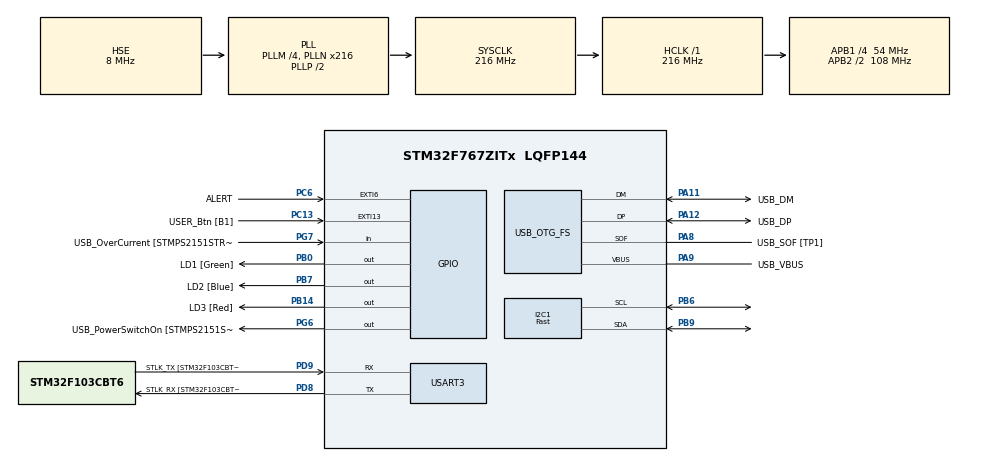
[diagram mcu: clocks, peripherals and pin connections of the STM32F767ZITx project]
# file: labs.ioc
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ADC1.Channel-0\#ChannelRegularConversion=ADC_CHANNEL_TEMPSENSOR
ADC1.NbrOfConversionFlag=1
ADC1.Rank-0\#ChannelRegularConversion=1
ADC1.SamplingTime-0\#ChannelRegularConversion=ADC_SAMPLETIME_3CYCLES
ADC1.master=1
I2C1.I2C_Speed_Mode=I2C_Fast
I2C1.Timing=0x6000030D
Mcu.Family=STM32F7
Mcu.Name=STM32F767ZITx
Mcu.Package=LQFP144
NVIC.PriorityGroup=NVIC_PRIORITYGROUP_4
PA10.GPIO_Label=USB_ID
PA10.Signal=USB_OTG_FS_ID
PA11.GPIO_Label=USB_DM
PA11.Mode=Device_Only
PA11.Signal=USB_OTG_FS_DM
PA12.GPIO_Label=USB_DP
PA12.Mode=Device_Only
PA12.Signal=USB_OTG_FS_DP
PA13.GPIO_Label=TMS
PA13.Mode=Serial_Wire
PA13.Signal=SYS_JTMS-SWDIO
PA14.GPIO_Label=TCK
PA14.Mode=Serial_Wire
PA14.Signal=SYS_JTCK-SWCLK
PA8.GPIO_Label=USB_SOF [TP1]
PA8.Mode=Activate_SOF_FS
PA8.Signal=USB_OTG_FS_SOF
PA9.GPIO_Label=USB_VBUS
PA9.Mode=Activate_VBUS
PA9.Signal=USB_OTG_FS_VBUS
PB0.GPIO_Label=LD1 [Green]
PB0.Signal=GPIO_Output
PB14.GPIO_Label=LD3 [Red]
PB14.Signal=GPIO_Output
PB3.GPIO_Label=SWO
PB3.Signal=SYS_JTDO-SWO
PB6.Mode=I2C
PB6.Signal=I2C1_SCL
PB7.GPIO_Label=LD2 [Blue]
PB7.Signal=GPIO_Output
PB9.Mode=I2C
PB9.Signal=I2C1_SDA
PC13.GPIO_Label=USER_Btn [B1]
PC13.Signal=GPXTI13
PC14/OSC32_IN.Mode=LSE-External-Oscillator
PC14/OSC32_IN.Signal=RCC_OSC32_IN
PC15/OSC32_OUT.Mode=LSE-External-Oscillator
PC15/OSC32_OUT.Signal=RCC_OSC32_OUT
PC6.GPIO_Label=ALERT
PC6.Signal=GPXTI6
PD8.GPIO_Label=STLK_RX [STM32F103CBT6_PA3]
PD8.Mode=Asynchronous
PD8.Signal=USART3_TX
PD9.GPIO_Label=STLK_TX [STM32F103CBT6_PA2]
PD9.Mode=Asynchronous
PD9.Signal=USART3_RX
PG6.GPIO_Label=USB_PowerSwitchOn [STMPS2151STR_EN]
PG6.Signal=GPIO_Output
PG7.GPIO_Label=USB_OverCurrent [STMPS2151STR_FAULT]
PG7.Signal=GPIO_Input
PH0/OSC_IN.GPIO_Label=MCO [STM32F103CBT6_PA8]
PH0/OSC_IN.Mode=HSE-External-Clock-Source
PH0/OSC_IN.Signal=RCC_OSC_IN
PH1/OSC_OUT.Mode=HSE-External-Clock-Source
PH1/OSC_OUT.Signal=RCC_OSC_OUT
ProjectManager.HeapSize=0x200
ProjectManager.StackSize=0x400
ProjectManager.TargetToolchain=STM32CubeIDE
RCC.48MHZClocksFreq_Value=24000000
RCC.AHBFreq_Value=216000000
RCC.APB1CLKDivider=RCC_HCLK_DIV4
RCC.APB1Freq_Value=54000000
RCC.APB1TimFreq_Value=108000000
RCC.APB2CLKDivider=RCC_HCLK_DIV2
RCC.APB2Freq_Value=108000000
RCC.APB2TimFreq_Value=216000000
RCC.CortexFreq_Value=216000000
RCC.HCLKFreq_Value=216000000
RCC.HSE_VALUE=8000000
RCC.HSI_VALUE=16000000
RCC.PLLM=4
RCC.PLLMUL=RCC_PLL_MUL9
RCC.PLLN=216
RCC.PLLQ=9
RCC.PRESCALERUSB=RCC_USBCLKSOURCE_PLL_DIV1_5
RCC.SYSCLKFreq_VALUE=216000000
RCC.SYSCLKSource=RCC_SYSCLKSOURCE_PLLCLK
RCC.SYSCLKSourceVirtual=RCC_SYSCLKSOURCE_PLLCLK
RCC.USBFreq_Value=48000000
RCC.VCOOutputFreq_Value=432000000
USART3.VirtualMode-Asynchronous=VM_ASYNC
USB_OTG_FS.VirtualMode=Device_Only
VP_ADC1_TempSens_Input.Mode=IN-TempSens
board=NUCLEO-F767ZI

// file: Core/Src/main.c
/* USER CODE BEGIN Header */
/**
  ******************************************************************************
  * @file           : main.c
  * @brief          : Main program body
  ******************************************************************************
  * @attention
  *
  * <h2><center>&copy; Copyright (c) 2023 STMicroelectronics.
  * All rights reserved.</center></h2>
  *
  * This software component is licensed by ST under BSD 3-Clause license,
  * the "License"; You may not use this file except in compliance with the
  * License. You may obtain a copy of the License at:
  *                        opensource.org/licenses/BSD-3-Clause
  *
  ******************************************************************************
  */
/* USER CODE END Header */
#include "main.h"
#include "adc.h"
#include "i2c.h"
#include "usart.h"
#include "usb_otg.h"
#include "gpio.h"

/* USER CODE BEGIN Includes */
#include "platform/platform.h"
#include "platform/src/drv/ads1115.h"
#include <stdio.h>
#include <math.h>
/* USER CODE END Includes */

/* USER CODE BEGIN PV */
char sprintf_buffer[100];
/* USER CODE END PV */

void SystemClock_Config(void);

/* USER CODE BEGIN 0 */
void plt_uart_transmit(plt_uart_t *uart, uint8_t* data, uint16_t size)
{
	if(uart->port == 3){
		HAL_UART_Transmit(&huart3, data, size, 100);
	}
}
/* USER CODE END 0 */

int main(void)
{

  /* MCU Configuration--------------------------------------------------------*/

  /* Reset of all peripherals, Initializes the Flash interface and the Systick. */
  HAL_Init();

  /* Configure the system clock */
  SystemClock_Config();

  /* Initialize all configured peripherals */
  MX_GPIO_Init();
  MX_USART3_UART_Init();
  MX_USB_OTG_FS_PCD_Init();
  MX_ADC1_Init();
  MX_I2C1_Init();
  /* USER CODE BEGIN 2 */
  plt_init();
  ads1115_init();
  /* USER CODE END 2 */

  /* Infinite loop */
  /* USER CODE BEGIN WHILE */
  while (1)
  {
	  plt_scheduler();
	  uint16_t data = ads1115_shot_read();

	  float result = data;

	  //uint16_t size = sprintf(sprintf_buffer, "Voltage %f\n\r", result);
	  uint16_t size = sprintf(sprintf_buffer, "Voltage %u\n\r", data);
	  HAL_UART_Transmit(&huart3,(uint8_t*)sprintf_buffer, size ,100);
	  HAL_Delay(1000);
    /* USER CODE END WHILE */

  }
}

void SystemClock_Config(void)
{
  RCC_OscInitTypeDef RCC_OscInitStruct = {0};
  RCC_ClkInitTypeDef RCC_ClkInitStruct = {0};
  RCC_PeriphCLKInitTypeDef PeriphClkInitStruct = {0};

  /** Configure LSE Drive Capability
  */
  HAL_PWR_EnableBkUpAccess();
  /** Configure the main internal regulator output voltage
  */
  __HAL_RCC_PWR_CLK_ENABLE();
  __HAL_PWR_VOLTAGESCALING_CONFIG(PWR_REGULATOR_VOLTAGE_SCALE1);
  /** Initializes the RCC Oscillators according to the specified parameters
  * in the RCC_OscInitTypeDef structure.
  */
  RCC_OscInitStruct.OscillatorType = RCC_OSCILLATORTYPE_HSE;
  RCC_OscInitStruct.HSEState = RCC_HSE_BYPASS;
  RCC_OscInitStruct.PLL.PLLState = RCC_PLL_ON;
  RCC_OscInitStruct.PLL.PLLSource = RCC_PLLSOURCE_HSE;
  RCC_OscInitStruct.PLL.PLLM = 4;
  RCC_OscInitStruct.PLL.PLLN = 216;
  RCC_OscInitStruct.PLL.PLLP = RCC_PLLP_DIV2;
  RCC_OscInitStruct.PLL.PLLQ = 9;
  RCC_OscInitStruct.PLL.PLLR = 2;
  if (HAL_RCC_OscConfig(&RCC_OscInitStruct) != HAL_OK)
  {
    Error_Handler();
  }
  /** Activate the Over-Drive mode
  */
  if (HAL_PWREx_EnableOverDrive() != HAL_OK)
  {
    Error_Handler();
  }
  /** Initializes the CPU, AHB and APB buses clocks
  */
  RCC_ClkInitStruct.ClockType = RCC_CLOCKTYPE_HCLK|RCC_CLOCKTYPE_SYSCLK
                              |RCC_CLOCKTYPE_PCLK1|RCC_CLOCKTYPE_PCLK2;
  RCC_ClkInitStruct.SYSCLKSource = RCC_SYSCLKSOURCE_PLLCLK;
  RCC_ClkInitStruct.AHBCLKDivider = RCC_SYSCLK_DIV1;
  RCC_ClkInitStruct.APB1CLKDivider = RCC_HCLK_DIV4;
  RCC_ClkInitStruct.APB2CLKDivider = RCC_HCLK_DIV2;

  if (HAL_RCC_ClockConfig(&RCC_ClkInitStruct, FLASH_LATENCY_7) != HAL_OK)
  {
    Error_Handler();
  }
  PeriphClkInitStruct.PeriphClockSelection = RCC_PERIPHCLK_USART3|RCC_PERIPHCLK_I2C1
                              |RCC_PERIPHCLK_CLK48;
  PeriphClkInitStruct.Usart3ClockSelection = RCC_USART3CLKSOURCE_PCLK1;
  PeriphClkInitStruct.I2c1ClockSelection = RCC_I2C1CLKSOURCE_PCLK1;
  PeriphClkInitStruct.Clk48ClockSelection = RCC_CLK48SOURCE_PLL;
  if (HAL_RCCEx_PeriphCLKConfig(&PeriphClkInitStruct) != HAL_OK)
  {
    Error_Handler();
  }
}

void Error_Handler(void)
{
  __disable_irq();
  while (1)
  {
  }
}

/************************ (C) COPYRIGHT STMicroelectronics *****END OF FILE****/
